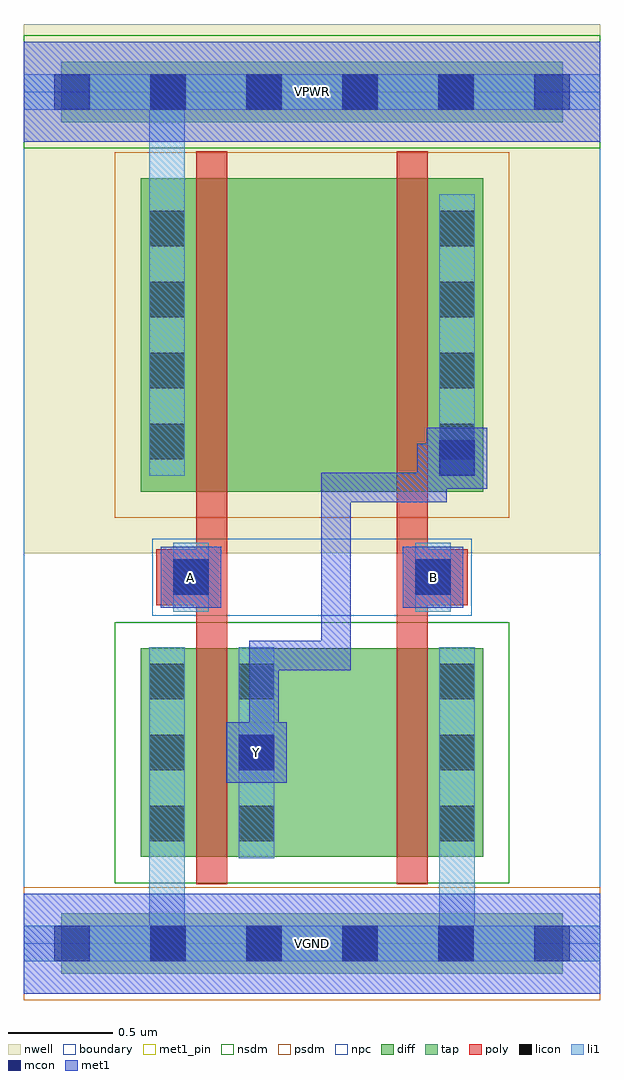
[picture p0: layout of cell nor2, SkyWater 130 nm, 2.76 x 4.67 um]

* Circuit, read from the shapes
.subckt nor2 A B VGND VPWR Y
XM1 Y A VGND VGND sky130_fd_pr__nfet_01v8 w=1 l=0.15
XM2 VGND B Y VGND sky130_fd_pr__nfet_01v8 w=1 l=0.15
XM3 n1 A VPWR VPWR sky130_fd_pr__pfet_01v8 w=1.5 l=0.15
XM4 Y B n1 VPWR sky130_fd_pr__pfet_01v8 w=1.5 l=0.15
.ends

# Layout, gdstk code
import gdstk
lib = gdstk.Library(unit=1e-6, precision=1e-09)
def R(c, l, rs):  # rectangles x0, y0, x1, y1
    for r in rs: c.add(gdstk.rectangle(r[:2], r[2:], *l))
def A(c, l, x, y, w, h, nx, ny, dx, dy):  # array of equal rectangles
    R(c, l, [(x+i*dx, y+j*dy, x+i*dx+w, y+j*dy+h) for i in range(nx) for j in range(ny)])
nwell = (64, 20)
diff = (65, 20)
tap = (65, 44)
poly = (66, 20)
licon = (66, 44)
li1 = (67, 20)
mcon = (67, 44)
met1_pin = (68, 16)
met1 = (68, 20)
nsdm = (93, 44)
psdm = (94, 20)
npc = (95, 20)
boundary = (235, 4)

nor2 = lib.new_cell('nor2')
R(nor2, nwell, [(0,1.87,2.76,4.405)])
R(nor2, diff, [(0.56,0.415,2.2,1.415), (0.56,2.165,2.2,3.665)])
R(nor2, tap, [(0.18,-0.145,2.58,0.145), (0.18,3.935,2.58,4.225)])
R(nor2, poly, [(0.825,0.285,0.975,3.795), (1.785,0.285,1.935,3.795), (0.635,1.62,0.965,1.89), (1.795,1.62,2.125,1.89)])
A(nor2, licon, 0.605, -0.085, 0.17, 0.17, 4, 2, 0.46, 4.08)
A(nor2, licon, 0.6, 0.49, 0.17, 0.17, 1, 3, 0, 0.34)
A(nor2, licon, 1.03, 0.49, 0.17, 0.17, 1, 3, 0, 0.34)
A(nor2, licon, 1.99, 0.49, 0.17, 0.17, 1, 3, 0, 0.34)
A(nor2, licon, 0.6, 2.32, 0.17, 0.17, 1, 4, 0, 0.34)
A(nor2, licon, 1.99, 2.32, 0.17, 0.17, 1, 4, 0, 0.34)
R(nor2, licon, [(0.715,1.67,0.885,1.84), (1.875,1.67,2.045,1.84)])
R(nor2, li1, [(0,-0.085,2.76,0.085), (0.6,-0.085,0.77,1.42), (1.99,-0.085,2.16,1.42), (0.6,0.41,0.77,1.42), (1.03,0.41,1.2,1.42), (1.99,0.41,2.16,1.42), (0.715,1.59,0.885,1.92), (1.875,1.59,2.045,1.92), (0.6,2.24,0.77,3.59), (0.6,2.24,0.77,4.165), (1.99,2.24,2.16,3.59), (0,3.995,2.76,4.165)])
A(nor2, mcon, 0.145, -0.085, 0.17, 0.17, 6, 2, 0.46, 4.08)
R(nor2, mcon, [(1.03,0.83,1.2,1), (0.715,1.67,0.885,1.84), (1.875,1.67,2.045,1.84), (1.99,2.24,2.16,2.41)])
R(nor2, met1_pin, [(0,-0.24,2.76,0.24), (0.97,0.77,1.26,1.06), (0.655,1.61,0.945,1.9), (1.815,1.61,2.105,1.9), (0,3.84,2.76,4.32)])
R(nor2, met1, [(0,-0.24,2.76,0.24), (0.97,0.77,1.26,1.06), (1.08,0.85,1.22,0.99), (1.08,0.85,1.22,1.45), (1.08,1.31,1.565,1.45), (1.425,1.31,1.565,2.255), (0.655,1.61,0.945,1.9), (1.815,1.61,2.105,1.9), (1.425,2.115,2.025,2.255), (1.885,2.115,2.025,2.395), (1.93,2.18,2.22,2.47), (1.885,2.255,2.145,2.395), (0,3.84,2.76,4.32)])
R(nor2, nsdm, [(0.435,0.29,2.325,1.54), (0,3.81,2.76,4.35)])
R(nor2, psdm, [(0,-0.27,2.76,0.27), (0.435,2.04,2.325,3.79)])
R(nor2, npc, [(0.615,1.57,2.145,1.94)])
R(nor2, boundary, [(0,0,2.76,4.08)])
nor2.add(gdstk.Label('A', (0.8,1.755), layer=68, texttype=5))
nor2.add(gdstk.Label('B', (1.96,1.755), layer=68, texttype=5))
nor2.add(gdstk.Label('Y', (1.115,0.915), layer=68, texttype=5))
nor2.add(gdstk.Label('VPWR', (1.38,4.08), layer=68, texttype=5))
nor2.add(gdstk.Label('VGND', (1.38,0), layer=68, texttype=5))
nor2.add(gdstk.Label('A', (0.8,1.755), layer=68, texttype=16))
nor2.add(gdstk.Label('B', (1.96,1.755), layer=68, texttype=16))
nor2.add(gdstk.Label('Y', (1.115,0.915), layer=68, texttype=16))
nor2.add(gdstk.Label('VPWR', (1.38,4.08), layer=68, texttype=16))
nor2.add(gdstk.Label('VGND', (1.38,0), layer=68, texttype=16))

lib.write_gds('nor2.gds')
